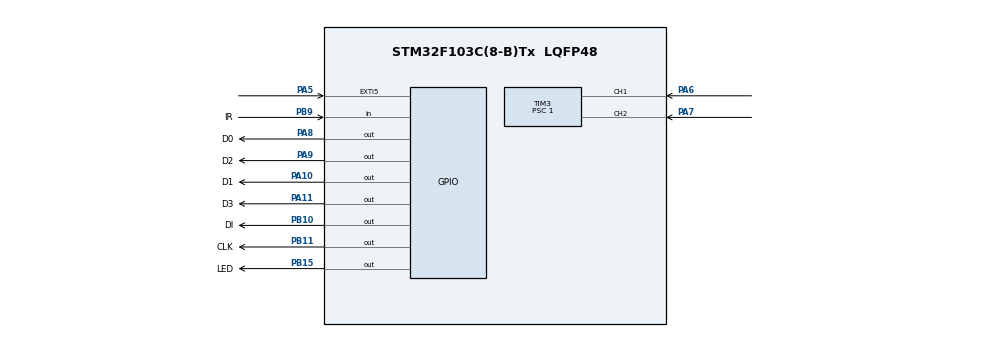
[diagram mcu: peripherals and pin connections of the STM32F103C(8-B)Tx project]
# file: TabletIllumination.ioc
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Mcu.Family=STM32F1
Mcu.Name=STM32F103C(8-B)Tx
Mcu.Package=LQFP48
NVIC.EXTI9_5_IRQn=true\:0\:0\:false
NVIC.PriorityGroup=NVIC_PRIORITYGROUP_4
NVIC.TIM3_IRQn=true\:0\:0\:false
PA10.GPIO_Label=D1
PA10.Signal=GPIO_Output
PA11.GPIO_Label=D3
PA11.Signal=GPIO_Output
PA5.GPIO_PuPd=GPIO_PULLUP
PA5.Signal=GPXTI5
PA6.GPIO_PuPd=GPIO_PULLUP
PA6.Signal=S_TIM3_CH1
PA7.GPIO_PuPd=GPIO_PULLUP
PA7.Signal=S_TIM3_CH2
PA8.GPIO_Label=D0
PA8.Signal=GPIO_Output
PA9.GPIO_Label=D2
PA9.Signal=GPIO_Output
PB10.GPIO_Label=DI
PB10.Signal=GPIO_Output
PB11.GPIO_Label=CLK
PB11.Signal=GPIO_Output
PB15.GPIO_Label=LED
PB15.Signal=GPIO_Output
PB9.GPIO_Label=IR
PB9.GPIO_PuPd=GPIO_PULLUP
PB9.Signal=GPIO_Input
ProjectManager.HeapSize=0x400
ProjectManager.StackSize=0x200
ProjectManager.TargetToolchain=MDK-ARM V5
RCC.APB1Freq_Value=8000000
RCC.APB2Freq_Value=8000000
SH.S_TIM3_CH1.0=TIM3_CH1,Encoder_Interface
SH.S_TIM3_CH2.0=TIM3_CH2,Encoder_Interface
TIM3.EncoderMode=TIM_ENCODERMODE_TI1
TIM3.IC1Filter=15
TIM3.IC1Polarity=TIM_ICPOLARITY_RISING
TIM3.IC1Prescaler=TIM_ICPSC_DIV1
TIM3.IC2Filter=15
TIM3.IC2Polarity=TIM_ICPOLARITY_RISING
TIM3.IC2Prescaler=TIM_ICPSC_DIV1
TIM3.Period=65535
TIM3.Prescaler=1
board=TabletIllumination

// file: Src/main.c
/**
  ******************************************************************************
  * File Name          : main.c
  * Description        : Main program body
  ******************************************************************************
  *
  * COPYRIGHT(c) 2016 STMicroelectronics
  *
  * Redistribution and use in source and binary forms, with or without modification,
  * are permitted provided that the following conditions are met:
  *   1. Redistributions of source code must retain the above copyright notice,
  *      this list of conditions and the following disclaimer.
  *   2. Redistributions in binary form must reproduce the above copyright notice,
  *      this list of conditions and the following disclaimer in the documentation
  *      and/or other materials provided with the distribution.
  *   3. Neither the name of STMicroelectronics nor the names of its contributors
  *      may be used to endorse or promote products derived from this software
  *      without specific prior written permission.
  *
  * THIS SOFTWARE IS PROVIDED BY THE COPYRIGHT HOLDERS AND CONTRIBUTORS "AS IS"
  * AND ANY EXPRESS OR IMPLIED WARRANTIES, INCLUDING, BUT NOT LIMITED TO, THE
  * IMPLIED WARRANTIES OF MERCHANTABILITY AND FITNESS FOR A PARTICULAR PURPOSE ARE
  * DISCLAIMED. IN NO EVENT SHALL THE COPYRIGHT HOLDER OR CONTRIBUTORS BE LIABLE
  * FOR ANY DIRECT, INDIRECT, INCIDENTAL, SPECIAL, EXEMPLARY, OR CONSEQUENTIAL
  * DAMAGES (INCLUDING, BUT NOT LIMITED TO, PROCUREMENT OF SUBSTITUTE GOODS OR
  * SERVICES; LOSS OF USE, DATA, OR PROFITS; OR BUSINESS INTERRUPTION) HOWEVER
  * CAUSED AND ON ANY THEORY OF LIABILITY, WHETHER IN CONTRACT, STRICT LIABILITY,
  * OR TORT (INCLUDING NEGLIGENCE OR OTHERWISE) ARISING IN ANY WAY OUT OF THE USE
  * OF THIS SOFTWARE, EVEN IF ADVISED OF THE POSSIBILITY OF SUCH DAMAGE.
  *
  ******************************************************************************
  */
#include "stm32f1xx_hal.h"

/* USER CODE BEGIN Includes */
#include "..\MDK-ARM\TM1637.h"
/* USER CODE END Includes */

TIM_HandleTypeDef htim3;

/* USER CODE BEGIN PV */
TM1637 tm1637(0,0);
/* Private variables ---------------------------------------------------------*/

/* USER CODE END PV */

void SystemClock_Config(void);
static void MX_GPIO_Init(void);
static void MX_TIM3_Init(void);

/* USER CODE BEGIN PFP */
/* Private function prototypes -----------------------------------------------*/

/* USER CODE END PFP */

/* USER CODE BEGIN 0 */
void driveOff() {
	HAL_GPIO_WritePin(D0_GPIO_Port, D0_Pin, GPIO_PIN_RESET);
	HAL_GPIO_WritePin(D1_GPIO_Port, D1_Pin, GPIO_PIN_RESET);
	HAL_GPIO_WritePin(D2_GPIO_Port, D2_Pin, GPIO_PIN_RESET);
	HAL_GPIO_WritePin(D3_GPIO_Port, D3_Pin, GPIO_PIN_RESET);
}
void goHome() {
	void step(char dir);
	while(HAL_GPIO_ReadPin(IR_GPIO_Port, IR_Pin) == GPIO_PIN_RESET) {
		step(1);
		HAL_Delay(1);
	}
	while(HAL_GPIO_ReadPin(IR_GPIO_Port, IR_Pin) == GPIO_PIN_SET) {
		step(0);
		HAL_Delay(1);
	}
	driveOff();

}

/* USER CODE END 0 */

int main(void)
{

  /* MCU Configuration----------------------------------------------------------*/

  /* Reset of all peripherals, Initializes the Flash interface and the Systick. */
  HAL_Init();

  /* Configure the system clock */
  SystemClock_Config();

  /* Initialize all configured peripherals */
  MX_GPIO_Init();
  MX_TIM3_Init();

  /* USER CODE BEGIN 2 */
	HAL_TIM_Encoder_Start_IT(&htim3, TIM_CHANNEL_ALL);;
	extern int lastEnc;
	TIM3->CNT = 32000;
	lastEnc = 32000;

	tm1637.init();
  tm1637.set(7); // ???????, ?? 0 ?? 7
  tm1637.point(POINT_OFF); // ???????? ?????

	int8_t TimeDisp[4];
	TimeDisp[0] = 1;
  TimeDisp[1] = 16;
  TimeDisp[2] = 0;
  TimeDisp[3] = 0;

  tm1637.display(TimeDisp);

	goHome();
  /* USER CODE END 2 */

  /* Infinite loop */
  /* USER CODE BEGIN WHILE */
  while (1)
  {

		extern char state;
		void step(char dir);
		HAL_Delay(300);
		signed int d = TIM3->CNT - lastEnc;
		if (TIM3->CNT > lastEnc) {
		for(int i = 0; i < 484 * (d); i++) {
			step(0);
			HAL_Delay(1);
		}
	}
	else if (lastEnc > TIM3->CNT) {
		for(int i = 0; i < 484 * (d * -1); i++) {
			if (HAL_GPIO_ReadPin(IR_GPIO_Port, IR_Pin) == GPIO_PIN_RESET) {
				step(1);
				HAL_Delay(1);
			}
		}
	}
	driveOff();
	TimeDisp[0] = TIM3->CNT / 1000;
  TimeDisp[1] = TIM3->CNT / 100;
  TimeDisp[2] = TIM3->CNT / 10;
  TimeDisp[3] = TIM3->CNT % 10;
	//tm1637.display(TimeDisp);
	lastEnc = TIM3->CNT;
  /* USER CODE END WHILE */

  }

}

/** System Clock Configuration
*/
void SystemClock_Config(void)
{

  RCC_OscInitTypeDef RCC_OscInitStruct;
  RCC_ClkInitTypeDef RCC_ClkInitStruct;

  RCC_OscInitStruct.OscillatorType = RCC_OSCILLATORTYPE_HSI;
  RCC_OscInitStruct.HSIState = RCC_HSI_ON;
  RCC_OscInitStruct.HSICalibrationValue = 16;
  RCC_OscInitStruct.PLL.PLLState = RCC_PLL_NONE;
  HAL_RCC_OscConfig(&RCC_OscInitStruct);

  RCC_ClkInitStruct.ClockType = RCC_CLOCKTYPE_HCLK|RCC_CLOCKTYPE_SYSCLK
                              |RCC_CLOCKTYPE_PCLK1|RCC_CLOCKTYPE_PCLK2;
  RCC_ClkInitStruct.SYSCLKSource = RCC_SYSCLKSOURCE_HSI;
  RCC_ClkInitStruct.AHBCLKDivider = RCC_SYSCLK_DIV1;
  RCC_ClkInitStruct.APB1CLKDivider = RCC_HCLK_DIV1;
  RCC_ClkInitStruct.APB2CLKDivider = RCC_HCLK_DIV1;
  HAL_RCC_ClockConfig(&RCC_ClkInitStruct, FLASH_LATENCY_0);

  HAL_SYSTICK_Config(HAL_RCC_GetHCLKFreq()/1000);

  HAL_SYSTICK_CLKSourceConfig(SYSTICK_CLKSOURCE_HCLK);

  /* SysTick_IRQn interrupt configuration */
  HAL_NVIC_SetPriority(SysTick_IRQn, 0, 0);
}

/* TIM3 init function */
void MX_TIM3_Init(void)
{

  TIM_Encoder_InitTypeDef sConfig;
  TIM_MasterConfigTypeDef sMasterConfig;

  htim3.Instance = TIM3;
  htim3.Init.Prescaler = 1;
  htim3.Init.CounterMode = TIM_COUNTERMODE_UP;
  htim3.Init.Period = 65535;
  htim3.Init.ClockDivision = TIM_CLOCKDIVISION_DIV1;
  sConfig.EncoderMode = TIM_ENCODERMODE_TI1;
  sConfig.IC1Polarity = TIM_ICPOLARITY_RISING;
  sConfig.IC1Selection = TIM_ICSELECTION_DIRECTTI;
  sConfig.IC1Prescaler = TIM_ICPSC_DIV1;
  sConfig.IC1Filter = 15;
  sConfig.IC2Polarity = TIM_ICPOLARITY_RISING;
  sConfig.IC2Selection = TIM_ICSELECTION_DIRECTTI;
  sConfig.IC2Prescaler = TIM_ICPSC_DIV1;
  sConfig.IC2Filter = 15;
  HAL_TIM_Encoder_Init(&htim3, &sConfig);

  sMasterConfig.MasterOutputTrigger = TIM_TRGO_RESET;
  sMasterConfig.MasterSlaveMode = TIM_MASTERSLAVEMODE_DISABLE;
  HAL_TIMEx_MasterConfigSynchronization(&htim3, &sMasterConfig);

}

/** Configure pins as
        * Analog
        * Input
        * Output
        * EVENT_OUT
        * EXTI
*/
void MX_GPIO_Init(void)
{

  GPIO_InitTypeDef GPIO_InitStruct;

  /* GPIO Ports Clock Enable */
  __GPIOA_CLK_ENABLE();
  __GPIOB_CLK_ENABLE();

  /*Configure GPIO pin : PA5 */
  GPIO_InitStruct.Pin = GPIO_PIN_5;
  GPIO_InitStruct.Mode = GPIO_MODE_IT_RISING;
  GPIO_InitStruct.Pull = GPIO_PULLUP;
  HAL_GPIO_Init(GPIOA, &GPIO_InitStruct);

  /*Configure GPIO pins : DI_Pin CLK_Pin LED_Pin */
  GPIO_InitStruct.Pin = DI_Pin|CLK_Pin|LED_Pin;
  GPIO_InitStruct.Mode = GPIO_MODE_OUTPUT_PP;
  GPIO_InitStruct.Speed = GPIO_SPEED_LOW;
  HAL_GPIO_Init(GPIOB, &GPIO_InitStruct);

  /*Configure GPIO pins : D0_Pin D2_Pin D1_Pin D3_Pin */
  GPIO_InitStruct.Pin = D0_Pin|D2_Pin|D1_Pin|D3_Pin;
  GPIO_InitStruct.Mode = GPIO_MODE_OUTPUT_PP;
  GPIO_InitStruct.Speed = GPIO_SPEED_LOW;
  HAL_GPIO_Init(GPIOA, &GPIO_InitStruct);

  /*Configure GPIO pin : IR_Pin */
  GPIO_InitStruct.Pin = IR_Pin;
  GPIO_InitStruct.Mode = GPIO_MODE_INPUT;
  GPIO_InitStruct.Pull = GPIO_PULLUP;
  HAL_GPIO_Init(IR_GPIO_Port, &GPIO_InitStruct);

  /*Configure GPIO pin Output Level */
  HAL_GPIO_WritePin(GPIOB, DI_Pin|CLK_Pin|LED_Pin, GPIO_PIN_RESET);

  /*Configure GPIO pin Output Level */
  HAL_GPIO_WritePin(GPIOA, D0_Pin|D2_Pin|D1_Pin|D3_Pin, GPIO_PIN_RESET);

  /* EXTI interrupt init*/
  HAL_NVIC_SetPriority(EXTI9_5_IRQn, 0, 0);
  HAL_NVIC_EnableIRQ(EXTI9_5_IRQn);

}

/************************ (C) COPYRIGHT STMicroelectronics *****END OF FILE****/
